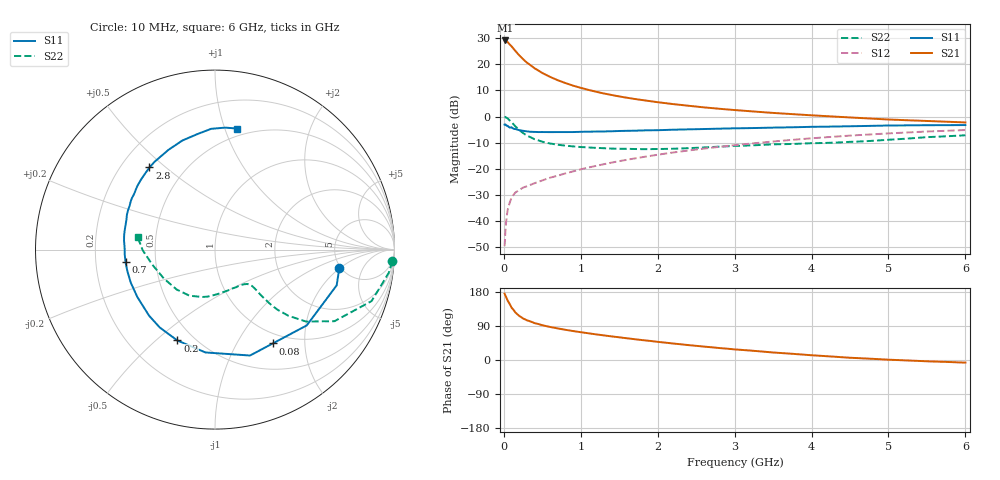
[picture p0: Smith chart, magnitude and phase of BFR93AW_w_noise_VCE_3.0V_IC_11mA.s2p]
! Infineon Technologies  Discrete & RF Semiconductors
! BFR93AW
! VCE =  3.0 V,  IC =  11 mA
! Common Emitter S-Parameters:  Jan 2017
# GHz  S  MA  R  50
!  f  S11  S21  S12  S22
! GHz  MAG  ANG  MAG  ANG  MAG  ANG  MAG  ANG
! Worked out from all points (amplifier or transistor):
!   77 points, 10 MHz to 6 GHz, reference 50 ohm
!   highest |S21| = 29.1 dB at 20 MHz (marker M1)
!   |S21| within 3 dB of that: start of sweep to 121.6 MHz
!   unconditionally stable (mu >= 1): 780.4 MHz to 2.165 GHz
!   at 130 MHz: K = 0.33, MSG = 27.8 dB, |S12| = -29.8 dB
!   at 2.2 GHz: K = 1.00, MSG = 9.3 dB, |S12| = -13.8 dB
!   at 6 GHz: K = 0.89, MSG = 1.5 dB, |S12| = -5.2 dB
!   lowest NFmin = 1.26 dB at 450 MHz
!   S11 on the Smith chart (normalised r, x): 10 MHz: 4.88, -1.94; 80 MHz: 0.85, -1.43; 200 MHz: 0.41, -0.59; 700 MHz: 0.33, -0.06; 2.8 GHz: 0.32, +0.44; 6 GHz: 0.43, +1.10
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0.01  0.7004 -8.3  28.48 175.0  0.0033 86.9  0.9909 -3.8
0.02  0.7065 -16.4  28.52 170.3  0.0063 85.4  0.9761 -7.7
0.05  0.663 -39.6  26.49 156.5  0.0163 71.9  0.9182 -18.2
0.08  0.6139 -58.4  23.55 146.3  0.0232 64.1  0.8281 -25.3
0.1  0.6215 -71.7  22.09 138.2  0.028 61.1  0.7764 -30.9
0.15  0.5755 -95.3  17.99 125.4  0.0351 54.9  0.6472 -38.3
0.2  0.548 -112.5  14.82 116.4  0.0392 52.1  0.5516 -42.0
0.25  0.5321 -125.3  12.51 109.7  0.0436 50.6  0.4828 -43.9
0.3  0.52 -135.0  10.73 104.8  0.0462 51.3  0.4311 -44.6
0.4  0.5069 -148.7  8.359 97.3  0.0529 53.4  0.3674 -44.8
0.5  0.5042 -158.6  6.801 91.8  0.0598 55.1  0.3292 -44.5
0.6  0.5027 -166.1  5.738 87.2  0.0674 56.8  0.3047 -44.4
0.7  0.5034 -171.9  4.956 83.4  0.0736 59.1  0.2883 -44.5
0.9  0.504 178.3  3.895 76.4  0.0889 61.2  0.2677 -46.1
1.1  0.5129 170.7  3.23 70.5  0.1056 63.3  0.256 -48.8
1.5  0.5282 158.3  2.421 59.9  0.1398 64.1  0.2412 -57.5
2.1  0.5524 143.2  1.802 45.8  0.195 62.5  0.2398 -76.3
2.8  0.5855 128.6  1.407 31.6  0.2624 57.9  0.2651 -99.1
3.1  0.5965 122.6  1.295 26.5  0.2922 55.3  0.2761 -107.9
4.1  0.6368 105.0  1.034 11.3  0.3921 45.3  0.31 -137.3
5.1  0.6742 90.6  0.865 0.0  0.4829 33.7  0.3659 -169.2
6  0.6857 79.7  0.77 -6.9  0.551 23.0  0.437 170.7
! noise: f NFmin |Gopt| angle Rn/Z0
0.45  1.26  0.12  111  0.13
0.9  1.57  0.23  157  0.14
1.9  2.62  0.47  -146  0.18
2.4  3.24  0.54  -130  0.37
